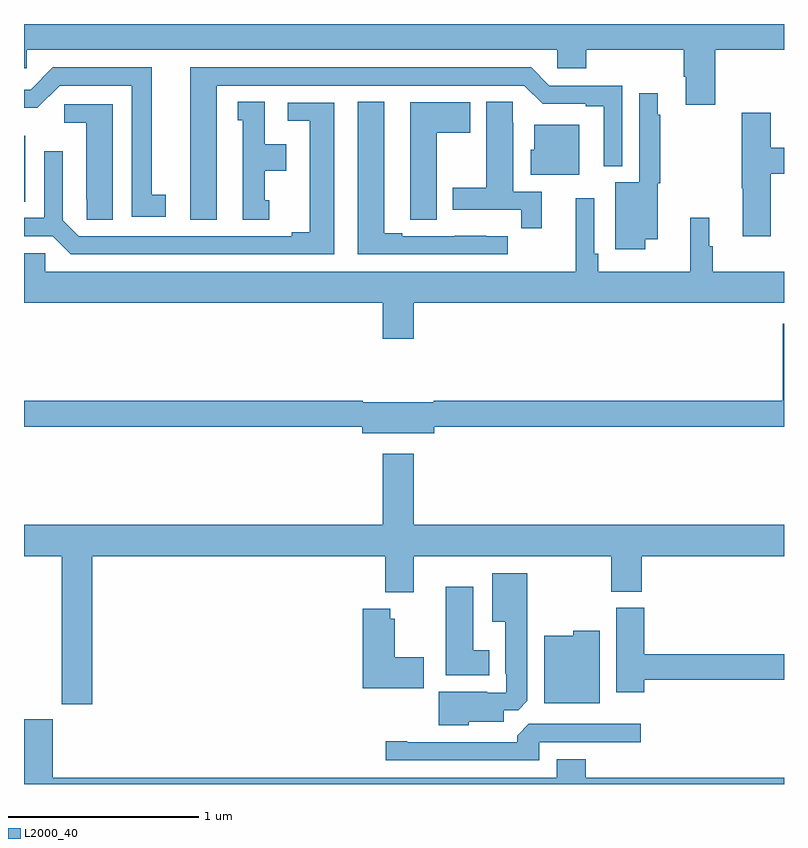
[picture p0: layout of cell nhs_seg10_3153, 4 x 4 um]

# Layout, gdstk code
import gdstk
lib = gdstk.Library(unit=1e-6, precision=1e-09)
def R(c, l, rs):  # rectangles x0, y0, x1, y1
    for r in rs: c.add(gdstk.rectangle(r[:2], r[2:], *l))
def P(c, l, *ps):  # polygons
    for p in ps: c.add(gdstk.Polygon(p, *l))
L2000_40 = (2000, 40)

nhs_seg10_3153 = lib.new_cell('nhs_seg10_3153')
R(nhs_seg10_3153, L2000_40, [(283,1251.565,283.006,1251.913)])
P(nhs_seg10_3153, L2000_40, [(286.637,1252.364),(287,1252.364),(287,1252.5),(283,1252.5),(283,1252.266),(283.014,1252.266),(283.014,1252.364),(285.807,1252.364),(285.807,1252.266),(285.959,1252.266),(285.959,1252.364),(286.472,1252.364),(286.472,1252.222),(286.484,1252.222),(286.484,1252.074),(286.637,1252.074)],
  [(284.014,1252.176),(285.633,1252.176),(285.729,1252.08),(285.956,1252.08),(285.956,1252.068),(286.052,1252.068),(286.052,1251.752),(286.149,1251.752),(286.149,1252.176),(285.765,1252.176),(285.669,1252.272),(283.874,1252.272),(283.874,1251.471),(284.014,1251.471)],
  [(283.747,1251.602),(283.672,1251.602),(283.672,1252.272),(283.152,1252.272),(283.035,1252.155),(283,1252.155),(283,1252.058),(283.07,1252.058),(283.188,1252.176),(283.568,1252.176),(283.568,1251.486),(283.747,1251.486)],
  [(286.27,1251.368),(286.336,1251.368),(286.336,1251.663),(286.348,1251.663),(286.348,1252.022),(286.336,1252.022),(286.336,1252.135),(286.239,1252.135),(286.239,1251.667),(286.112,1251.667),(286.112,1251.315),(286.27,1251.315)],
  [(285.725,1251.618),(285.574,1251.618),(285.574,1251.98),(285.573,1251.98),(285.573,1252.091),(285.434,1252.091),(285.434,1251.639),(285.257,1251.639),(285.257,1251.522),(285.616,1251.522),(285.616,1251.426),(285.725,1251.426)],
  [(284.29,1251.573),(284.266,1251.573),(284.266,1251.728),(284.38,1251.728),(284.38,1251.868),(284.266,1251.868),(284.266,1252.091),(284.126,1252.091),(284.126,1251.993),(284.15,1251.993),(284.15,1251.471),(284.29,1251.471)],
  [(285.547,1251.384),(285.434,1251.384),(285.434,1251.385),(285.268,1251.385),(285.268,1251.384),(284.992,1251.384),(284.992,1251.399),(284.896,1251.399),(284.896,1252.091),(284.756,1252.091),(284.756,1251.288),(285.547,1251.288)],
  [(285.172,1251.928),(285.349,1251.928),(285.349,1252.087),(285.032,1252.087),(285.032,1251.577),(285.033,1251.577),(285.033,1251.469),(285.172,1251.469)],
  [(284.632,1252.086),(284.388,1252.086),(284.388,1251.99),(284.504,1251.99),(284.504,1251.404),(284.408,1251.404),(284.408,1251.384),(283.287,1251.384),(283.203,1251.468),(283.203,1251.829),(283.107,1251.829),(283.107,1251.48),(283,1251.48),(283,1251.384),(283.151,1251.384),(283.247,1251.288),(284.632,1251.288)],
  [(283.468,1252.077),(283.212,1252.077),(283.212,1251.98),(283.328,1251.98),(283.328,1251.577),(283.329,1251.577),(283.329,1251.469),(283.468,1251.469)],
  [(286.931,1251.712),(287,1251.712),(287,1251.848),(286.931,1251.848),(286.931,1252.033),(286.777,1252.033),(286.777,1251.635),(286.784,1251.635),(286.784,1251.384),(286.931,1251.384)],
  [(285.922,1251.97),(285.686,1251.97),(285.686,1251.837),(285.668,1251.837),(285.668,1251.707),(285.922,1251.707)],
  [(285.052,1251.032),(287,1251.032),(287,1251.196),(286.625,1251.196),(286.625,1251.33),(286.606,1251.33),(286.606,1251.481),(286.507,1251.481),(286.507,1251.196),(286.022,1251.196),(286.022,1251.292),(286.002,1251.292),(286.002,1251.583),(285.905,1251.583),(285.905,1251.196),(283.113,1251.196),(283.113,1251.294),(283,1251.294),(283,1251.032),(284.888,1251.032),(284.888,1250.844),(285.052,1250.844)],
  [(285.16,1250.38),(287,1250.38),(287,1250.922),(286.993,1250.922),(286.993,1250.516),(285.156,1250.516),(285.156,1250.509),(284.784,1250.509),(284.784,1250.516),(283,1250.516),(283,1250.38),(284.78,1250.38),(284.78,1250.345),(285.16,1250.345)],
  [(283.358,1249.7),(284.9,1249.7),(284.9,1249.508),(285.052,1249.508),(285.052,1249.7),(286.09,1249.7),(286.09,1249.513),(286.25,1249.513),(286.25,1249.7),(287,1249.7),(287,1249.864),(285.052,1249.864),(285.052,1250.239),(284.888,1250.239),(284.888,1249.864),(283,1249.864),(283,1249.7),(283.198,1249.7),(283.198,1248.921),(283.358,1248.921)],
  [(285.342,1248.827),(285.526,1248.827),(285.526,1248.888),(285.6,1248.888),(285.649,1248.937),(285.649,1249.609),(285.464,1249.609),(285.464,1249.355),(285.533,1249.355),(285.533,1249.081),(285.537,1249.081),(285.537,1248.981),(285.437,1248.981),(285.437,1248.985),(285.182,1248.985),(285.182,1248.809),(285.342,1248.809)],
  [(285.448,1249.204),(285.364,1249.204),(285.364,1249.537),(285.221,1249.537),(285.221,1249.073),(285.448,1249.073)],
  [(286.265,1249.048),(287,1249.048),(287,1249.184),(286.265,1249.184),(286.265,1249.428),(286.118,1249.428),(286.118,1248.984),(286.265,1248.984)],
  [(285.103,1249.167),(284.95,1249.167),(284.95,1249.369),(284.928,1249.369),(284.928,1249.423),(284.783,1249.423),(284.783,1249.004),(285.103,1249.004)],
  [(286.03,1249.306),(285.891,1249.306),(285.891,1249.279),(285.737,1249.279),(285.737,1248.926),(286.03,1248.926)],
  [(287,1248.532),(285.956,1248.532),(285.956,1248.631),(285.803,1248.631),(285.803,1248.532),(283.15,1248.532),(283.15,1248.841),(283,1248.841),(283,1248.5),(287,1248.5)],
  [(285.711,1248.72),(286.246,1248.72),(286.246,1248.816),(285.657,1248.816),(285.596,1248.754),(285.596,1248.72),(285.016,1248.72),(285.016,1248.725),(284.904,1248.725),(284.904,1248.624),(285.711,1248.624)])

lib.write_gds('nhs_seg10_3153.gds')
